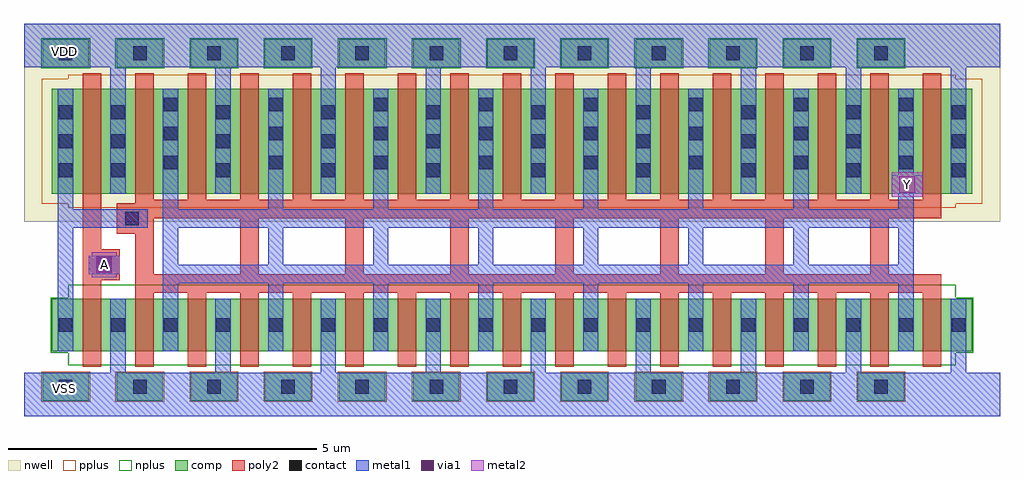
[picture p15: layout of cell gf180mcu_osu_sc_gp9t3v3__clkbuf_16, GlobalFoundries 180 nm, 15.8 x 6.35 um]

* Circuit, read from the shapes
.subckt gf180mcu_osu_sc_gp9t3v3__clkbuf_16 A VDD VSS Y
XM1 VSS A n1 VSS nfet_03v3 w=0.85u l=0.3u
XM2 Y n1 VSS VSS nfet_03v3 w=0.85u l=0.3u m=16
XM3 VDD A n1 VDD pfet_03v3 w=1.7u l=0.3u
XM4 Y n1 VDD VDD pfet_03v3 w=1.7u l=0.3u m=16
.ends

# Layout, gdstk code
import gdstk
lib = gdstk.Library(unit=1e-6, precision=1e-09)
def R(c, l, rs):  # rectangles x0, y0, x1, y1
    for r in rs: c.add(gdstk.rectangle(r[:2], r[2:], *l))
def A(c, l, x, y, w, h, nx, ny, dx, dy):  # array of equal rectangles
    R(c, l, [(x+i*dx, y+j*dy, x+i*dx+w, y+j*dy+h) for i in range(nx) for j in range(ny)])
nwell = (21, 0)
comp = (22, 0)
poly2 = (30, 0)
pplus = (31, 0)
nplus = (32, 0)
contact = (33, 0)
metal1 = (34, 0)
via1 = (35, 0)
metal2 = (36, 0)

gf180mcu_osu_sc_gp9t3v3_ = lib.new_cell('gf180mcu_osu_sc_gp9t3v3__clkbuf_16')
R(gf180mcu_osu_sc_gp9t3v3_, nwell, [(0,3.15,15.8,6.35)])
A(gf180mcu_osu_sc_gp9t3v3_, comp, 0.3, 0.25, 0.75, 0.45, 12, 2, 1.2, 5.4)
R(gf180mcu_osu_sc_gp9t3v3_, comp, [(0.45,1.05,15.35,1.9), (0.45,3.6,15.35,5.3)])
A(gf180mcu_osu_sc_gp9t3v3_, poly2, 1.8, 0.8, 0.3, 1.2, 16, 1, 0.85, 0)
A(gf180mcu_osu_sc_gp9t3v3_, poly2, 3.5, 2.3, 0.3, 0.9, 7, 1, 1.7, 0)
A(gf180mcu_osu_sc_gp9t3v3_, poly2, 1.8, 3.5, 0.3, 2.05, 16, 1, 0.85, 0)
R(gf180mcu_osu_sc_gp9t3v3_, poly2, [(0.95,0.8,1.25,2.2), (1.8,2,14.85,2.3), (0.95,2.2,1.55,2.7), (1.8,2.3,2.1,2.95), (0.95,2.7,1.25,5.55), (1.5,2.95,2.1,3.2), (1.5,3.2,14.85,3.45), (1.8,3.45,14.85,3.5)])
A(gf180mcu_osu_sc_gp9t3v3_, pplus, 0.28, 0.23, 0.79, 0.49, 12, 1, 1.2, 0)
R(gf180mcu_osu_sc_gp9t3v3_, pplus, [(0.72,3.37,15.08,3.44), (0.29,3.44,15.51,5.46), (0.72,5.46,15.08,5.53)])
A(gf180mcu_osu_sc_gp9t3v3_, nplus, 0.28, 5.63, 0.79, 0.49, 12, 1, 1.2, 0)
R(gf180mcu_osu_sc_gp9t3v3_, nplus, [(0.72,0.82,15.08,1.03), (0.43,1.03,15.37,1.92), (0.72,1.92,15.08,2.13)])
A(gf180mcu_osu_sc_gp9t3v3_, contact, 0.565, 0.365, 0.22, 0.22, 12, 2, 1.2, 5.4)
A(gf180mcu_osu_sc_gp9t3v3_, contact, 0.565, 1.365, 0.22, 0.22, 18, 1, 0.85, 0)
A(gf180mcu_osu_sc_gp9t3v3_, contact, 0.565, 3.87, 0.22, 0.22, 1, 3, 0, 0.47)
A(gf180mcu_osu_sc_gp9t3v3_, contact, 1.415, 3.87, 0.22, 0.22, 9, 3, 1.7, 0.47)
A(gf180mcu_osu_sc_gp9t3v3_, contact, 2.265, 3.995, 0.22, 0.22, 8, 3, 1.7, 0.47)
R(gf180mcu_osu_sc_gp9t3v3_, contact, [(1.19,2.34,1.41,2.56), (1.64,3.09,1.86,3.31)])
A(gf180mcu_osu_sc_gp9t3v3_, metal1, 1.4, 0.7, 0.25, 1.2, 9, 1, 1.7, 0)
A(gf180mcu_osu_sc_gp9t3v3_, metal1, 2.25, 1.05, 0.25, 1.1, 8, 1, 1.7, 0)
A(gf180mcu_osu_sc_gp9t3v3_, metal1, 2.25, 2.45, 0.25, 0.6, 8, 1, 1.7, 0)
A(gf180mcu_osu_sc_gp9t3v3_, metal1, 0.55, 3.35, 0.25, 1.95, 8, 1, 1.7, 0)
A(gf180mcu_osu_sc_gp9t3v3_, metal1, 1.4, 3.6, 0.25, 2.05, 9, 1, 1.7, 0)
R(gf180mcu_osu_sc_gp9t3v3_, metal1, [(0,0,15.8,0.7), (0.55,1.05,0.8,3.05), (2.25,2.15,14.4,2.45), (1.05,2.3,1.55,2.6), (0.55,3.05,2,3.35), (2.25,3.05,14.4,3.35), (14.15,3.35,14.4,3.6), (14.05,3.6,14.55,3.9), (14.15,3.9,14.4,5.3), (0,5.65,15.8,6.35)])
R(gf180mcu_osu_sc_gp9t3v3_, via1, [(1.17,2.32,1.43,2.58), (14.17,3.62,14.43,3.88)])
R(gf180mcu_osu_sc_gp9t3v3_, metal2, [(1.1,2.25,1.5,2.3), (1.05,2.3,1.55,2.6), (1.1,2.6,1.5,2.65), (14.05,3.55,14.55,3.95)])
gf180mcu_osu_sc_gp9t3v3_.add(gdstk.Label('A', (1.3,2.45), layer=36, texttype=10))
gf180mcu_osu_sc_gp9t3v3_.add(gdstk.Label('Y', (14.3,3.75), layer=36, texttype=10))
gf180mcu_osu_sc_gp9t3v3_.add(gdstk.Label('VDD', (0.65,5.9), layer=34, texttype=10))
gf180mcu_osu_sc_gp9t3v3_.add(gdstk.Label('VSS', (0.65,0.45), layer=34, texttype=10))

lib.write_gds('gf180mcu_osu_sc_gp9t3v3__clkbuf_16.gds')
